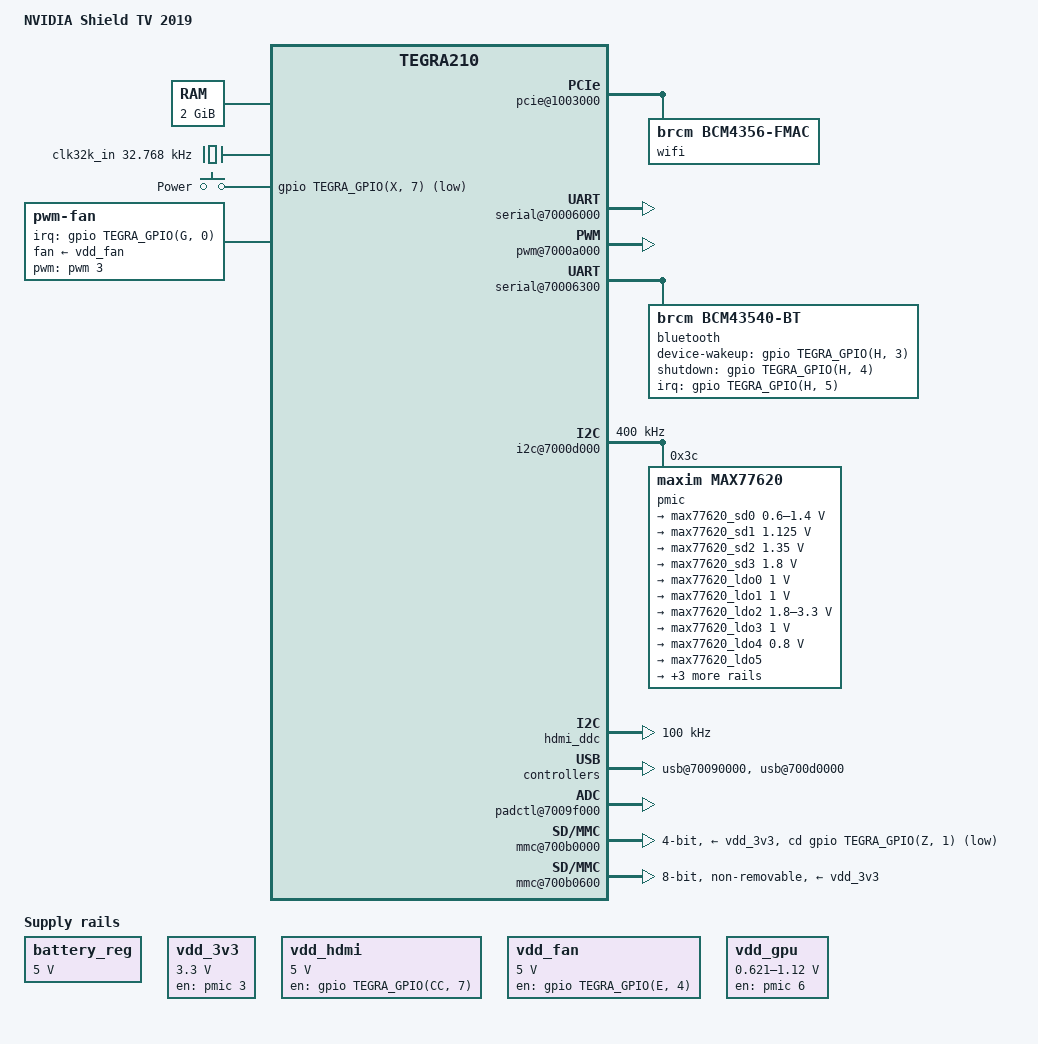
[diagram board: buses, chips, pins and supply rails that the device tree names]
// SPDX-License-Identifier: GPL-2.0
/dts-v1/;

#include <dt-bindings/input/input.h>
#include <dt-bindings/input/gpio-keys.h>
#include <dt-bindings/mfd/max77620.h>
#include <dt-bindings/pinctrl/pinctrl-tegra.h>
#include "tegra210b01.dtsi"

/ {
	model = "NVIDIA Shield TV 2019";
	compatible = "nvidia,p3425-0500-a04", "nvidia,sif", "nvidia,tegra210b01",
		"nvidia,tegra210";

	aliases {
		serial0 = &uarta;
		serial3 = &uartd;
	};

	chosen {
		bootargs = "earlycon";
		stdout-path = "serial0:115200n8";
	};

	memory@80000000 {
		device_type = "memory";
		reg = <0x0 0x80000000 0x0 0x80000000>;
	};

	pcie@1003000 {
		status = "okay";

		hvddio-pex-supply = <&max77620_sd3>;
		dvddio-pex-supply = <&max77620_ldo1>;
		vddio-pex-ctl-supply = <&max77620_sd3>;

		pci@1,0 {
			phys = <&{/padctl@7009f000/pads/pcie/lanes/pcie-3}>,
			       <&{/padctl@7009f000/pads/pcie/lanes/pcie-2}>;
			phy-names = "pcie-0", "pcie-1";
			status = "okay";

			wifi@0,0 {
				compatible = "brcm,bcm4356-fmac", "brcm,bcm4329-fmac";
			};
		};

		pci@2,0 {
			phys = <&{/padctl@7009f000/pads/pcie/lanes/pcie-0}>;
			phy-names = "pcie-0";
			status = "okay";
		};
	};

	host1x@50000000 {
		dpaux@54040000 {
			status = "okay";
		};

		sor@54580000 {
			status = "okay";

			avdd-io-hdmi-dp-supply = <&max77620_ldo3>;
			vdd-hdmi-dp-pll-supply = <&max77620_sd3>;
			hdmi-supply = <&vdd_hdmi>;

			nvidia,ddc-i2c-bus = <&hdmi_ddc>;
			nvidia,hpd-gpio = <&gpio TEGRA_GPIO(CC, 1)
					   GPIO_ACTIVE_LOW>;
		};
	};

	gpu@57000000 {
		vdd-supply = <&vdd_gpu>;
		status = "okay";
	};

	pinmux: pinmux@700008d4 {
		status = "okay";
		pinctrl-names = "boot";
		pinctrl-0 = <&state_boot>;

		state_boot: pinmux {
			dvfs_pwm_pbb1 {
				nvidia,pins = "dvfs_pwm_pbb1";
				nvidia,function = "cldvfs";
				nvidia,pull = <TEGRA_PIN_PULL_NONE>;
				nvidia,tristate = <TEGRA_PIN_ENABLE>;
				nvidia,enable-input = <TEGRA_PIN_DISABLE>;
				nvidia,lpdr = <TEGRA_PIN_DISABLE>;
			};

			pe7 {
				nvidia,pins = "pe7";
				nvidia,function = "pwm3";
				nvidia,pull = <TEGRA_PIN_PULL_NONE>;
				nvidia,tristate = <TEGRA_PIN_DISABLE>;
				nvidia,enable-input = <TEGRA_PIN_DISABLE>;
				nvidia,lpdr = <TEGRA_PIN_DISABLE>;
			};

			pex_l0_clkreq_n_pa1 {
				nvidia,pins = "pex_l0_clkreq_n_pa1";
				nvidia,function = "pe0";
				nvidia,pull = <TEGRA_PIN_PULL_UP>;
				nvidia,tristate = <TEGRA_PIN_DISABLE>;
				nvidia,enable-input = <TEGRA_PIN_ENABLE>;
				nvidia,io-high-voltage = <TEGRA_PIN_DISABLE>;
				nvidia,lpdr = <TEGRA_PIN_DISABLE>;
			};

			pex_l0_rst_n_pa0 {
				nvidia,pins = "pex_l0_rst_n_pa0";
				nvidia,function = "pe0";
				nvidia,pull = <TEGRA_PIN_PULL_UP>;
				nvidia,tristate = <TEGRA_PIN_DISABLE>;
				nvidia,enable-input = <TEGRA_PIN_DISABLE>;
				nvidia,io-high-voltage = <TEGRA_PIN_DISABLE>;
				nvidia,lpdr = <TEGRA_PIN_DISABLE>;
			};

			pex_l1_clkreq_n_pa4 {
				nvidia,pins = "pex_l1_clkreq_n_pa4";
				nvidia,function = "pe1";
				nvidia,pull = <TEGRA_PIN_PULL_NONE>;
				nvidia,tristate = <TEGRA_PIN_DISABLE>;
				nvidia,enable-input = <TEGRA_PIN_ENABLE>;
				nvidia,io-high-voltage = <TEGRA_PIN_ENABLE>;
				nvidia,lpdr = <TEGRA_PIN_DISABLE>;
			};

			pex_l1_rst_n_pa3 {
				nvidia,pins = "pex_l1_rst_n_pa3";
				nvidia,function = "pe1";
				nvidia,pull = <TEGRA_PIN_PULL_NONE>;
				nvidia,tristate = <TEGRA_PIN_DISABLE>;
				nvidia,enable-input = <TEGRA_PIN_DISABLE>;
				nvidia,io-high-voltage = <TEGRA_PIN_ENABLE>;
				nvidia,lpdr = <TEGRA_PIN_DISABLE>;
			};

			pex_wake_n_pa2 {
				nvidia,pins = "pex_wake_n_pa2";
				nvidia,function = "pe";
				nvidia,pull = <TEGRA_PIN_PULL_UP>;
				nvidia,tristate = <TEGRA_PIN_DISABLE>;
				nvidia,enable-input = <TEGRA_PIN_ENABLE>;
				nvidia,io-high-voltage = <TEGRA_PIN_DISABLE>;
				nvidia,lpdr = <TEGRA_PIN_DISABLE>;
			};

			sdmmc1_clk_pm0 {
				nvidia,pins = "sdmmc1_clk_pm0";
				nvidia,function = "sdmmc1";
				nvidia,pull = <TEGRA_PIN_PULL_NONE>;
				nvidia,tristate = <TEGRA_PIN_DISABLE>;
				nvidia,enable-input = <TEGRA_PIN_ENABLE>;
				nvidia,loopback = <TEGRA_PIN_ENABLE>;
			};

			sdmmc1_cmd_pm1 {
				nvidia,pins = "sdmmc1_cmd_pm1";
				nvidia,function = "sdmmc1";
				nvidia,pull = <TEGRA_PIN_PULL_UP>;
				nvidia,tristate = <TEGRA_PIN_DISABLE>;
				nvidia,enable-input = <TEGRA_PIN_ENABLE>;
			};

			sdmmc1_dat0_pm5 {
				nvidia,pins = "sdmmc1_dat0_pm5";
				nvidia,function = "sdmmc1";
				nvidia,pull = <TEGRA_PIN_PULL_UP>;
				nvidia,tristate = <TEGRA_PIN_DISABLE>;
				nvidia,enable-input = <TEGRA_PIN_ENABLE>;
			};

			sdmmc1_dat1_pm4 {
				nvidia,pins = "sdmmc1_dat1_pm4";
				nvidia,function = "sdmmc1";
				nvidia,pull = <TEGRA_PIN_PULL_UP>;
				nvidia,tristate = <TEGRA_PIN_DISABLE>;
				nvidia,enable-input = <TEGRA_PIN_ENABLE>;
			};

			sdmmc1_dat2_pm3 {
				nvidia,pins = "sdmmc1_dat2_pm3";
				nvidia,function = "sdmmc1";
				nvidia,pull = <TEGRA_PIN_PULL_UP>;
				nvidia,tristate = <TEGRA_PIN_DISABLE>;
				nvidia,enable-input = <TEGRA_PIN_ENABLE>;
			};

			sdmmc1_dat3_pm2 {
				nvidia,pins = "sdmmc1_dat3_pm2";
				nvidia,function = "sdmmc1";
				nvidia,pull = <TEGRA_PIN_PULL_UP>;
				nvidia,tristate = <TEGRA_PIN_DISABLE>;
				nvidia,enable-input = <TEGRA_PIN_ENABLE>;
			};

			shutdown {
				nvidia,pins = "shutdown";
				nvidia,function = "shutdown";
				nvidia,pull = <TEGRA_PIN_PULL_NONE>;
				nvidia,tristate = <TEGRA_PIN_DISABLE>;
				nvidia,enable-input = <TEGRA_PIN_DISABLE>;
				nvidia,lpdr = <TEGRA_PIN_DISABLE>;
			};

			pwr_i2c_scl_py3 {
				nvidia,pins = "pwr_i2c_scl_py3";
				nvidia,function = "i2cpmu";
				nvidia,pull = <TEGRA_PIN_PULL_NONE>;
				nvidia,tristate = <TEGRA_PIN_DISABLE>;
				nvidia,enable-input = <TEGRA_PIN_ENABLE>;
				nvidia,io-high-voltage = <TEGRA_PIN_DISABLE>;
				nvidia,lpdr = <TEGRA_PIN_DISABLE>;
			};

			pwr_i2c_sda_py4 {
				nvidia,pins = "pwr_i2c_sda_py4";
				nvidia,function = "i2cpmu";
				nvidia,pull = <TEGRA_PIN_PULL_NONE>;
				nvidia,tristate = <TEGRA_PIN_DISABLE>;
				nvidia,enable-input = <TEGRA_PIN_ENABLE>;
				nvidia,io-high-voltage = <TEGRA_PIN_DISABLE>;
				nvidia,lpdr = <TEGRA_PIN_DISABLE>;
			};

			clk_32k_in {
				nvidia,pins = "clk_32k_in";
				nvidia,function = "clk";
				nvidia,pull = <TEGRA_PIN_PULL_NONE>;
				nvidia,tristate = <TEGRA_PIN_DISABLE>;
				nvidia,enable-input = <TEGRA_PIN_ENABLE>;
				nvidia,lpdr = <TEGRA_PIN_DISABLE>;
			};

			clk_32k_out_py5 {
				nvidia,pins = "clk_32k_out_py5";
				nvidia,function = "soc";
				nvidia,pull = <TEGRA_PIN_PULL_NONE>;
				nvidia,tristate = <TEGRA_PIN_DISABLE>;
				nvidia,enable-input = <TEGRA_PIN_ENABLE>;
				nvidia,lpdr = <TEGRA_PIN_DISABLE>;
			};

			pz1 {
				nvidia,pins = "pz1";
				nvidia,function = "sdmmc1";
				nvidia,pull = <TEGRA_PIN_PULL_UP>;
				nvidia,tristate = <TEGRA_PIN_DISABLE>;
				nvidia,enable-input = <TEGRA_PIN_ENABLE>;
				nvidia,lpdr = <TEGRA_PIN_DISABLE>;
			};

			pz5 {
				nvidia,pins = "pz5";
				nvidia,function = "soc";
				nvidia,pull = <TEGRA_PIN_PULL_UP>;
				nvidia,tristate = <TEGRA_PIN_DISABLE>;
				nvidia,enable-input = <TEGRA_PIN_ENABLE>;
				nvidia,lpdr = <TEGRA_PIN_DISABLE>;
			};

			core_pwr_req {
				nvidia,pins = "core_pwr_req";
				nvidia,function = "core";
				nvidia,pull = <TEGRA_PIN_PULL_NONE>;
				nvidia,tristate = <TEGRA_PIN_DISABLE>;
				nvidia,enable-input = <TEGRA_PIN_DISABLE>;
				nvidia,lpdr = <TEGRA_PIN_DISABLE>;
			};

			pwr_int_n {
				nvidia,pins = "pwr_int_n";
				nvidia,function = "pmi";
				nvidia,pull = <TEGRA_PIN_PULL_NONE>;
				nvidia,tristate = <TEGRA_PIN_DISABLE>;
				nvidia,enable-input = <TEGRA_PIN_ENABLE>;
				nvidia,lpdr = <TEGRA_PIN_DISABLE>;
			};

			gen2_i2c_scl_pj2 {
				nvidia,pins = "gen2_i2c_scl_pj2";
				nvidia,function = "i2c2";
				nvidia,pull = <TEGRA_PIN_PULL_NONE>;
				nvidia,tristate = <TEGRA_PIN_DISABLE>;
				nvidia,enable-input = <TEGRA_PIN_ENABLE>;
				nvidia,io-high-voltage = <TEGRA_PIN_ENABLE>;
				nvidia,lpdr = <TEGRA_PIN_DISABLE>;
			};

			gen2_i2c_sda_pj3 {
				nvidia,pins = "gen2_i2c_sda_pj3";
				nvidia,function = "i2c2";
				nvidia,pull = <TEGRA_PIN_PULL_NONE>;
				nvidia,tristate = <TEGRA_PIN_DISABLE>;
				nvidia,enable-input = <TEGRA_PIN_ENABLE>;
				nvidia,io-high-voltage = <TEGRA_PIN_ENABLE>;
				nvidia,lpdr = <TEGRA_PIN_DISABLE>;
			};

			uart1_tx_pu0 {
				nvidia,pins = "uart1_tx_pu0";
				nvidia,function = "uarta";
				nvidia,pull = <TEGRA_PIN_PULL_NONE>;
				nvidia,tristate = <TEGRA_PIN_DISABLE>;
				nvidia,enable-input = <TEGRA_PIN_DISABLE>;
				nvidia,lpdr = <TEGRA_PIN_DISABLE>;
			};

			uart1_rx_pu1 {
				nvidia,pins = "uart1_rx_pu1";
				nvidia,function = "uarta";
				nvidia,pull = <TEGRA_PIN_PULL_UP>;
				nvidia,tristate = <TEGRA_PIN_DISABLE>;
				nvidia,enable-input = <TEGRA_PIN_ENABLE>;
				nvidia,lpdr = <TEGRA_PIN_DISABLE>;
			};

			uart1_rts_pu2 {
				nvidia,pins = "uart1_rts_pu2";
				nvidia,function = "uarta";
				nvidia,pull = <TEGRA_PIN_PULL_NONE>;
				nvidia,tristate = <TEGRA_PIN_DISABLE>;
				nvidia,enable-input = <TEGRA_PIN_DISABLE>;
				nvidia,lpdr = <TEGRA_PIN_DISABLE>;
			};

			jtag_rtck {
				nvidia,pins = "jtag_rtck";
				nvidia,function = "jtag";
				nvidia,pull = <TEGRA_PIN_PULL_NONE>;
				nvidia,tristate = <TEGRA_PIN_DISABLE>;
				nvidia,enable-input = <TEGRA_PIN_DISABLE>;
				nvidia,lpdr = <TEGRA_PIN_DISABLE>;
			};

			uart3_tx_pd1 {
				nvidia,pins = "uart3_tx_pd1";
				nvidia,function = "uartc";
				nvidia,pull = <TEGRA_PIN_PULL_NONE>;
				nvidia,tristate = <TEGRA_PIN_DISABLE>;
				nvidia,enable-input = <TEGRA_PIN_DISABLE>;
				nvidia,lpdr = <TEGRA_PIN_DISABLE>;
			};

			uart4_tx_pi4 {
				nvidia,pins = "uart4_tx_pi4";
				nvidia,function = "uartd";
				nvidia,pull = <TEGRA_PIN_PULL_NONE>;
				nvidia,tristate = <TEGRA_PIN_DISABLE>;
				nvidia,enable-input = <TEGRA_PIN_DISABLE>;
				nvidia,lpdr = <TEGRA_PIN_DISABLE>;
			};

			uart4_rx_pi5 {
				nvidia,pins = "uart4_rx_pi5";
				nvidia,function = "uartd";
				nvidia,pull = <TEGRA_PIN_PULL_UP>;
				nvidia,tristate = <TEGRA_PIN_DISABLE>;
				nvidia,enable-input = <TEGRA_PIN_ENABLE>;
				nvidia,lpdr = <TEGRA_PIN_DISABLE>;
			};

			uart4_rts_pi6 {
				nvidia,pins = "uart4_rts_pi6";
				nvidia,function = "uartd";
				nvidia,pull = <TEGRA_PIN_PULL_NONE>;
				nvidia,tristate = <TEGRA_PIN_DISABLE>;
				nvidia,enable-input = <TEGRA_PIN_DISABLE>;
				nvidia,lpdr = <TEGRA_PIN_DISABLE>;
			};

			uart4_cts_pi7 {
				nvidia,pins = "uart4_cts_pi7";
				nvidia,function = "uartd";
				nvidia,pull = <TEGRA_PIN_PULL_UP>;
				nvidia,tristate = <TEGRA_PIN_DISABLE>;
				nvidia,enable-input = <TEGRA_PIN_ENABLE>;
				nvidia,lpdr = <TEGRA_PIN_DISABLE>;
			};

			dap2_din_paa2 {
				nvidia,pins = "dap2_din_paa2";
				nvidia,function = "i2s2";
				nvidia,pull = <TEGRA_PIN_PULL_UP>;
				nvidia,tristate = <TEGRA_PIN_DISABLE>;
				nvidia,enable-input = <TEGRA_PIN_ENABLE>;
				nvidia,lpdr = <TEGRA_PIN_DISABLE>;
			};

			dap2_dout_paa3 {
				nvidia,pins = "dap2_dout_paa3";
				nvidia,function = "i2s2";
				nvidia,pull = <TEGRA_PIN_PULL_NONE>;
				nvidia,tristate = <TEGRA_PIN_DISABLE>;
				nvidia,enable-input = <TEGRA_PIN_ENABLE>;
				nvidia,lpdr = <TEGRA_PIN_DISABLE>;
			};

			dap2_fs_paa0 {
				nvidia,pins = "dap2_fs_paa0";
				nvidia,function = "i2s2";
				nvidia,pull = <TEGRA_PIN_PULL_NONE>;
				nvidia,tristate = <TEGRA_PIN_DISABLE>;
				nvidia,enable-input = <TEGRA_PIN_ENABLE>;
				nvidia,lpdr = <TEGRA_PIN_DISABLE>;
			};

			dap2_sclk_paa1 {
				nvidia,pins = "dap2_sclk_paa1";
				nvidia,function = "i2s2";
				nvidia,pull = <TEGRA_PIN_PULL_NONE>;
				nvidia,tristate = <TEGRA_PIN_DISABLE>;
				nvidia,enable-input = <TEGRA_PIN_ENABLE>;
				nvidia,lpdr = <TEGRA_PIN_DISABLE>;
			};

			hdmi_cec_pcc0 {
				nvidia,pins = "hdmi_cec_pcc0";
				nvidia,function = "cec";
				nvidia,pull = <TEGRA_PIN_PULL_NONE>;
				nvidia,tristate = <TEGRA_PIN_DISABLE>;
				nvidia,enable-input = <TEGRA_PIN_ENABLE>;
				nvidia,io-high-voltage = <TEGRA_PIN_ENABLE>;
				nvidia,lpdr = <TEGRA_PIN_ENABLE>;
			};

			/* GPIO Pin Configuration */
			dmic3_clk_pe4 {
				nvidia,pins = "dmic3_clk_pe4";
				nvidia,function = "rsvd2";
				nvidia,pull = <TEGRA_PIN_PULL_NONE>;
				nvidia,tristate = <TEGRA_PIN_DISABLE>;
				nvidia,enable-input = <TEGRA_PIN_DISABLE>;
				nvidia,lpdr = <TEGRA_PIN_DISABLE>;
			};

			pe6 {
				nvidia,pins = "pe6";
				nvidia,function = "rsvd0";
				nvidia,pull = <TEGRA_PIN_PULL_DOWN>;
				nvidia,tristate = <TEGRA_PIN_DISABLE>;
				nvidia,enable-input = <TEGRA_PIN_ENABLE>;
				nvidia,lpdr = <TEGRA_PIN_DISABLE>;
			};

			pa6 {
				nvidia,pins = "pa6";
				nvidia,function = "rsvd1";
				nvidia,pull = <TEGRA_PIN_PULL_UP>;
				nvidia,tristate = <TEGRA_PIN_DISABLE>;
				nvidia,enable-input = <TEGRA_PIN_DISABLE>;
				nvidia,lpdr = <TEGRA_PIN_DISABLE>;
			};

			als_prox_int_px3 {
				nvidia,pins = "als_prox_int_px3";
				nvidia,function = "rsvd0";
				nvidia,pull = <TEGRA_PIN_PULL_DOWN>;
				nvidia,tristate = <TEGRA_PIN_DISABLE>;
				nvidia,enable-input = <TEGRA_PIN_DISABLE>;
				nvidia,lpdr = <TEGRA_PIN_DISABLE>;
			};

			button_vol_up_px6 {
				nvidia,pins = "button_vol_up_px6";
				nvidia,function = "rsvd0";
				nvidia,pull = <TEGRA_PIN_PULL_UP>;
				nvidia,tristate = <TEGRA_PIN_DISABLE>;
				nvidia,enable-input = <TEGRA_PIN_ENABLE>;
				nvidia,lpdr = <TEGRA_PIN_DISABLE>;
			};

			button_vol_down_px7 {
				nvidia,pins = "button_vol_down_px7";
				nvidia,function = "rsvd0";
				nvidia,pull = <TEGRA_PIN_PULL_UP>;
				nvidia,tristate = <TEGRA_PIN_DISABLE>;
				nvidia,enable-input = <TEGRA_PIN_ENABLE>;
				nvidia,lpdr = <TEGRA_PIN_DISABLE>;
			};

			button_home_py1 {
				nvidia,pins = "button_home_py1";
				nvidia,function = "rsvd0";
				nvidia,pull = <TEGRA_PIN_PULL_UP>;
				nvidia,tristate = <TEGRA_PIN_DISABLE>;
				nvidia,enable-input = <TEGRA_PIN_ENABLE>;
				nvidia,lpdr = <TEGRA_PIN_DISABLE>;
			};

			pz0 {
				nvidia,pins = "pz0";
				nvidia,function = "rsvd1";
				nvidia,pull = <TEGRA_PIN_PULL_NONE>;
				nvidia,tristate = <TEGRA_PIN_DISABLE>;
				nvidia,enable-input = <TEGRA_PIN_ENABLE>;
				nvidia,lpdr = <TEGRA_PIN_DISABLE>;
			};

			uart2_tx_pg0 {
				nvidia,pins = "uart2_tx_pg0";
				nvidia,function = "uartb";
				nvidia,pull = <TEGRA_PIN_PULL_NONE>;
				nvidia,tristate = <TEGRA_PIN_DISABLE>;
				nvidia,enable-input = <TEGRA_PIN_ENABLE>;
				nvidia,lpdr = <TEGRA_PIN_DISABLE>;
			};

			wifi_en_ph0 {
				nvidia,pins = "wifi_en_ph0";
				nvidia,function = "rsvd0";
				nvidia,pull = <TEGRA_PIN_PULL_NONE>;
				nvidia,tristate = <TEGRA_PIN_DISABLE>;
				nvidia,enable-input = <TEGRA_PIN_DISABLE>;
				nvidia,lpdr = <TEGRA_PIN_DISABLE>;
			};

			wifi_wake_ap_ph2 {
				nvidia,pins = "wifi_wake_ap_ph2";
				nvidia,function = "rsvd0";
				nvidia,pull = <TEGRA_PIN_PULL_DOWN>;
				nvidia,tristate = <TEGRA_PIN_DISABLE>;
				nvidia,enable-input = <TEGRA_PIN_ENABLE>;
				nvidia,lpdr = <TEGRA_PIN_DISABLE>;
			};

			ap_wake_bt_ph3 {
				nvidia,pins = "ap_wake_bt_ph3";
				nvidia,function = "rsvd0";
				nvidia,pull = <TEGRA_PIN_PULL_NONE>;
				nvidia,tristate = <TEGRA_PIN_DISABLE>;
				nvidia,enable-input = <TEGRA_PIN_DISABLE>;
				nvidia,lpdr = <TEGRA_PIN_DISABLE>;
			};

			bt_rst_ph4 {
				nvidia,pins = "bt_rst_ph4";
				nvidia,function = "rsvd0";
				nvidia,pull = <TEGRA_PIN_PULL_NONE>;
				nvidia,tristate = <TEGRA_PIN_DISABLE>;
				nvidia,enable-input = <TEGRA_PIN_DISABLE>;
				nvidia,lpdr = <TEGRA_PIN_DISABLE>;
			};

			bt_wake_ap_ph5 {
				nvidia,pins = "bt_wake_ap_ph5";
				nvidia,function = "rsvd0";
				nvidia,pull = <TEGRA_PIN_PULL_UP>;
				nvidia,tristate = <TEGRA_PIN_DISABLE>;
				nvidia,enable-input = <TEGRA_PIN_ENABLE>;
				nvidia,lpdr = <TEGRA_PIN_DISABLE>;
			};

			pcc7 {
				nvidia,pins = "pcc7";
				nvidia,function = "rsvd0";
				nvidia,pull = <TEGRA_PIN_PULL_NONE>;
				nvidia,tristate = <TEGRA_PIN_DISABLE>;
				nvidia,enable-input = <TEGRA_PIN_DISABLE>;
				nvidia,io-high-voltage = <TEGRA_PIN_DISABLE>;
				nvidia,lpdr = <TEGRA_PIN_ENABLE>;
			};

			hdmi_int_dp_hpd_pcc1 {
				nvidia,pins = "hdmi_int_dp_hpd_pcc1";
				nvidia,function = "rsvd1";
				nvidia,pull = <TEGRA_PIN_PULL_NONE>;
				nvidia,tristate = <TEGRA_PIN_DISABLE>;
				nvidia,enable-input = <TEGRA_PIN_ENABLE>;
				nvidia,io-high-voltage = <TEGRA_PIN_DISABLE>;
				nvidia,lpdr = <TEGRA_PIN_DISABLE>;
			};
		};

		dvfs_pwm_active_state: pinmux-dvfs-pwm-active {
			dvfs_pwm_pbb1 {
				nvidia,pins = "dvfs_pwm_pbb1";
				nvidia,tristate = <TEGRA_PIN_DISABLE>;
			};
		};

		dvfs_pwm_inactive_state: pinmux-dvfs-pwm-inactive {
			dvfs_pwm_pbb1 {
				nvidia,pins = "dvfs_pwm_pbb1";
				nvidia,tristate = <TEGRA_PIN_ENABLE>;
			};
		};
	};

	serial@70006000 {
		/delete-property/ dmas;
		/delete-property/ dma-names;
		status = "okay";
	};

	pwm@7000a000 {
		status = "okay";
	};

	serial@70006300 {
		/delete-property/ reg-shift;
		status = "okay";
		compatible = "nvidia,tegra30-hsuart";
		reset-names = "serial";

		bluetooth {
			compatible = "brcm,bcm43540-bt";
			device-wakeup-gpios = <&gpio TEGRA_GPIO(H, 3) GPIO_ACTIVE_HIGH>;
			shutdown-gpios = <&gpio TEGRA_GPIO(H, 4) GPIO_ACTIVE_HIGH>;
			interrupt-parent = <&gpio>;
			interrupts = <TEGRA_GPIO(H, 5) IRQ_TYPE_LEVEL_LOW>;
			interrupt-names = "host-wakeup";
		};
	};

	i2c@7000d000 {
		status = "okay";
		clock-frequency = <400000>;

		pmic: pmic@3c {
			compatible = "maxim,max77620";
			reg = <0x3c>;
			interrupts = <GIC_SPI 86 IRQ_TYPE_LEVEL_HIGH>;

			#interrupt-cells = <2>;
			interrupt-controller;

			gpio-controller;
			#gpio-cells = <2>;

			pinctrl-names = "default";
			pinctrl-0 = <&max77620_default>;

			fps {
				#address-cells = <1>;
				#size-cells = <0>;

				fps0 {
					reg = <0>;
					maxim,fps-event-source = <MAX77620_FPS_EVENT_SRC_EN0>;
				};

				fps1 {
					reg = <1>;
					maxim,fps-event-source = <MAX77620_FPS_EVENT_SRC_EN1>;
					maxim,device-state-on-disabled-event = <MAX77620_FPS_INACTIVE_STATE_SLEEP>;
				};

				fps2 {
					reg = <2>;
					maxim,fps-event-source = <MAX77620_FPS_EVENT_SRC_EN0>;
				};
			};

			max77620-hog {
				gpio-hog;
				output-high;
				gpios = <2 GPIO_ACTIVE_HIGH>,
					<7 GPIO_ACTIVE_HIGH>;
			};

			max77620_default: pinmux {
				gpio0 {
					pins = "gpio0";
					function = "gpio";
				};

				gpio1 {
					pins = "gpio1";
					function = "fps-out";
					drive-push-pull = <1>;
					maxim,active-fps-source = <MAX77620_FPS_SRC_NONE>;
				};

				gpio2 {
					pins = "gpio2";
					function = "fps-out";
					drive-open-drain = <1>;
					maxim,active-fps-source = <MAX77620_FPS_SRC_0>;
				};

				gpio3 {
					pins = "gpio3";
					function = "fps-out";
					drive-open-drain = <1>;
					maxim,active-fps-power-up-slot = <4>;
					maxim,active-fps-power-down-slot = <3>;
					maxim,active-fps-source = <MAX77620_FPS_SRC_0>;
				};

				gpio4 {
					pins = "gpio4";
					function = "32k-out1";
				};

				gpio5_6_7 {
					pins = "gpio5", "gpio6", "gpio7";
					function = "gpio";
					drive-push-pull = <1>;
				};
			};

			regulators {
				in-ldo0-1-supply = <&max77620_sd2>;
				in-ldo7-8-supply = <&max77620_sd2>;

				max77620_sd0: sd0 {
					regulator-name = "vdd-core";
					regulator-enable-ramp-delay = <146>;
					regulator-min-microvolt = <600000>;
					regulator-max-microvolt = <1400000>;
					regulator-ramp-delay = <27500>;
					regulator-always-on;
					regulator-boot-on;

					maxim,active-fps-power-up-slot = <1>;
					maxim,active-fps-power-down-slot = <6>;
					maxim,active-fps-source = <MAX77620_FPS_SRC_1>;
				};

				max77620_sd1: sd1 {
					regulator-name = "vddio-ddr";
					regulator-enable-ramp-delay = <130>;
					regulator-min-microvolt = <1125000>;
					regulator-max-microvolt = <1125000>;
					regulator-ramp-delay = <27500>;
					regulator-always-on;
					regulator-boot-on;

					maxim,active-fps-power-up-slot = <5>;
					maxim,active-fps-power-down-slot = <2>;
					maxim,active-fps-source = <MAX77620_FPS_SRC_0>;
				};

				max77620_sd2: sd2 {
					regulator-name = "vdd-pre-reg";
					regulator-enable-ramp-delay = <176>;
					regulator-min-microvolt = <1350000>;
					regulator-max-microvolt = <1350000>;
					regulator-ramp-delay = <27500>;
					regulator-always-on;
					regulator-boot-on;

					maxim,active-fps-power-up-slot = <2>;
					maxim,active-fps-power-down-slot = <5>;
					maxim,suspend-fps-source = <MAX77620_FPS_SRC_1>;
				};

				max77620_sd3: sd3 {
					regulator-name = "vdd-1v8";
					regulator-enable-ramp-delay = <242>;
					regulator-min-microvolt = <1800000>;
					regulator-max-microvolt = <1800000>;
					regulator-ramp-delay = <27500>;
					regulator-always-on;
					regulator-boot-on;

					maxim,active-fps-power-up-slot = <3>;
					maxim,active-fps-power-down-slot = <4>;
					maxim,active-fps-source = <MAX77620_FPS_SRC_0>;
				};

				/* Described on downstream as unused, but isn't actually disabled */
				max77620_ldo0: ldo0 {
					regulator-name = "avdd-sys";
					regulator-enable-ramp-delay = <26>;
					regulator-min-microvolt = <1000000>;
					regulator-max-microvolt = <1000000>;
					regulator-ramp-delay = <100000>;

					maxim,active-fps-power-up-slot = <0>;
					maxim,active-fps-power-down-slot = <7>;
					maxim,active-fps-source = <MAX77620_FPS_SRC_0>;
				};

				max77620_ldo1: ldo1 {
					regulator-name = "vdd-pex";
					regulator-enable-ramp-delay = <22>;
					regulator-min-microvolt = <1000000>;
					regulator-max-microvolt = <1000000>;
					regulator-ramp-delay = <100000>;
					regulator-always-on;

					maxim,active-fps-power-up-slot = <0>;
					maxim,active-fps-power-down-slot = <7>;
					maxim,active-fps-source = <MAX77620_FPS_SRC_NONE>;
				};

				max77620_ldo2: ldo2 {
					regulator-name = "vddio-sdmmc3";
					regulator-enable-ramp-delay = <62>;
					regulator-min-microvolt = <1800000>;
					regulator-max-microvolt = <3300000>;
					regulator-ramp-delay = <100000>;

					maxim,active-fps-power-up-slot = <0>;
					maxim,active-fps-power-down-slot = <7>;
					maxim,active-fps-source = <MAX77620_FPS_SRC_NONE>;
				};

				max77620_ldo3: ldo3 {
					regulator-name = "avdd-io-hdmi-dp";
					regulator-enable-ramp-delay = <50>;
					regulator-min-microvolt = <1000000>;
					regulator-max-microvolt = <1000000>;
					regulator-ramp-delay = <100000>;

					maxim,active-fps-power-up-slot = <0>;
					maxim,active-fps-power-down-slot = <7>;
					maxim,active-fps-source = <MAX77620_FPS_SRC_NONE>;
				};

				max77620_ldo4: ldo4 {
					regulator-name = "vdd-rtc";
					regulator-enable-ramp-delay = <22>;
					regulator-min-microvolt = <800000>;
					regulator-max-microvolt = <800000>;
					regulator-ramp-delay = <100000>;
					regulator-always-on;
					regulator-boot-on;

					maxim,active-fps-power-up-slot = <1>;
					maxim,active-fps-power-down-slot = <6>;
					maxim,active-fps-source = <MAX77620_FPS_SRC_0>;
				};

				/* Described on downstream as unused, but isn't actually disabled */
				max77620_ldo5: ldo5 {
					regulator-name = "avdd-ts-hv";
					regulator-enable-ramp-delay = <62>;
					regulator-ramp-delay = <100000>;

					maxim,active-fps-power-up-slot = <0>;
					maxim,active-fps-power-down-slot = <7>;
					maxim,active-fps-source = <MAX77620_FPS_SRC_NONE>;
				};

				/* Described on downstream as unused, but isn't actually disabled */
				max77620_ldo6: ldo6 {
					regulator-name = "vdd-ts";
					regulator-enable-ramp-delay = <36>;
					regulator-ramp-delay = <100000>;

					maxim,active-fps-power-up-slot = <0>;
					maxim,active-fps-power-down-slot = <7>;
					maxim,active-fps-source = <MAX77620_FPS_SRC_NONE>;
				};

				/* Described on downstream as unused, but isn't actually disabled */
				max77620_ldo7: ldo7 {
					regulator-name = "vdd-gen-pll-edp";
					regulator-enable-ramp-delay = <24>;
					regulator-ramp-delay = <100000>;

					maxim,active-fps-power-up-slot = <3>;
					maxim,active-fps-power-down-slot = <4>;
					maxim,active-fps-source = <MAX77620_FPS_SRC_NONE>;
				};

				/* Described on downstream as unused, but isn't actually disabled */
				max77620_ldo8: ldo8 {
					regulator-name = "vdd-hdmi-dp";
					regulator-enable-ramp-delay = <22>;
					regulator-ramp-delay = <100000>;

					maxim,active-fps-power-up-slot = <6>;
					maxim,active-fps-power-down-slot = <1>;
					maxim,active-fps-source = <MAX77620_FPS_SRC_NONE>;
				};
			};
		};
	};

	/* HDMI DDC */
	hdmi_ddc: i2c@7000c700 {
		status = "okay";
		clock-frequency = <100000>;
	};

	pmc@7000e400 {
		nvidia,invert-interrupt;
		nvidia,suspend-mode = <0>;
		nvidia,cpu-pwr-good-time = <0>;
		nvidia,cpu-pwr-off-time = <0>;
		nvidia,core-pwr-good-time = <4587 3876>;
		nvidia,core-pwr-off-time = <39065>;
		nvidia,core-power-req-active-high;
		nvidia,sys-clock-req-active-high;
		status = "okay";
	};

	hda@70030000 {
		status = "okay";
		nvidia,model = "NVIDIA SHIELD TV HDA";
	};

	usb@70090000 {
		phys = <&{/padctl@7009f000/pads/usb2/lanes/usb2-0}>;
		phy-names = "usb2-0";
		dvddio-pex-supply = <&max77620_ldo1>;
		hvddio-pex-supply = <&max77620_sd3>;
		avdd-usb-supply = <&vdd_3v3>;

		status = "okay";
	};

	padctl@7009f000 {
		status = "okay";

		avdd-pll-utmip-supply = <&max77620_sd3>;
		avdd-pll-uerefe-supply = <&max77620_ldo7>;
		dvdd-pex-pll-supply = <&max77620_ldo1>;
		hvdd-pex-pll-e-supply = <&max77620_sd3>;

		pads {
			usb2 {
				status = "okay";

				lanes {
					usb2-0 {
						nvidia,function = "xusb";
						status = "okay";
					};
				};
			};

			pcie {
				status = "okay";

				lanes {
					pcie-0 {
						nvidia,function = "pcie-x1";
						status = "okay";
					};

					pcie-1 {
						nvidia,function = "usb3-ss";
						status = "okay";
					};

					pcie-2 {
						nvidia,function = "pcie-x4";
						status = "okay";
					};

					pcie-3 {
						nvidia,function = "pcie-x4";
						status = "okay";
					};

					pcie-4 {
						nvidia,function = "usb3-ss";
						status = "okay";
					};

					pcie-5 {
						nvidia,function = "usb3-ss";
						status = "okay";
					};
				};
			};
		};

		ports {
			usb2-0 {
				status = "okay";
				vbus-supply = <&battery_reg>;
				usb-role-switch;
				mode = "otg";

				connector {
					compatible = "gpio-usb-b-connector",
						     "usb-b-connector";
					label = "micro-USB";
					type = "micro";
					vbus-gpios = <&gpio TEGRA_GPIO(Z, 0)
						      GPIO_ACTIVE_LOW>;
					id-gpios = <&gpio TEGRA_GPIO(Z, 2)
						      GPIO_ACTIVE_LOW>;
				};
			};
		};
	};

	mmc@700b0000 {
		status = "okay";
		bus-width = <4>;

		cd-gpios = <&gpio TEGRA_GPIO(Z, 1) GPIO_ACTIVE_LOW>;
		disable-wp;

		vqmmc-supply = <&max77620_ldo2>;
		vmmc-supply = <&vdd_3v3>;
	};

	mmc@700b0600 {
		bus-width = <8>;
		non-removable;
		status = "okay";

		vqmmc-supply = <&max77620_sd3>;
		vmmc-supply = <&vdd_3v3>;
	};

	usb@700d0000 {
		status = "okay";
		phys = <&{/padctl@7009f000/pads/usb2/lanes/usb2-0}>;
		phy-names = "usb2-0";
		avddio-usb-supply = <&max77620_ldo1>;
		hvdd-usb-supply = <&vdd_3v3>;
	};

	clock@70110000 {
		status = "okay";

		nvidia,cf = <6>;
		nvidia,ci = <0>;
		nvidia,cg = <2>;
		nvidia,droop-ctrl = <0x00000f00>;
		nvidia,force-mode = <1>;
		nvidia,sample-rate = <25000>;

		nvidia,pwm-min-microvolts = <500000>;
		nvidia,pwm-period-nanoseconds = <2500>; /* 2.5us */
		nvidia,pwm-to-pmic;
		nvidia,pwm-tristate-microvolts = <800000>;
		nvidia,pwm-voltage-step-microvolts = <19375>;

		pinctrl-names = "dvfs_pwm_enable", "dvfs_pwm_disable";
		pinctrl-0 = <&dvfs_pwm_active_state>;
		pinctrl-1 = <&dvfs_pwm_inactive_state>;
	};

	clk32k_in: clock-32k {
		compatible = "fixed-clock";
		clock-frequency = <32768>;
		#clock-cells = <0>;
	};

	cpus {
		cpu@0 {
			enable-method = "psci";
		};

		cpu@1 {
			enable-method = "psci";
		};

		cpu@2 {
			enable-method = "psci";
		};

		cpu@3 {
			enable-method = "psci";
		};

		idle-states {
			cpu-sleep {
				status = "okay";
			};
		};
	};

	gpio-keys {
		compatible = "gpio-keys";
		status = "okay";

		key-power {
			debounce-interval = <30>;
			gpios = <&gpio TEGRA_GPIO(X, 7) GPIO_ACTIVE_LOW>;
			label = "Power";
			linux,code = <KEY_POWER>;
			wakeup-event-action = <EV_ACT_ASSERTED>;
			wakeup-source;
		};
	};

	psci {
		compatible = "arm,psci-1.0";
		method = "smc";
	};

	fan: pwm-fan {
		compatible = "pwm-fan";
		pwms = <&pwm 3 37488>;
		fan-supply = <&vdd_fan>;
		interrupt-parent = <&gpio>;
		interrupts = <TEGRA_GPIO(G, 0) IRQ_TYPE_EDGE_RISING>;

		/* cooling level (0, 1, 2, 3) - pwm inverted */
		cooling-levels = <255 128 64 0>;
		#cooling-cells = <2>;
	};

	battery_reg: regulator-vdd-ac-bat {
		compatible = "regulator-fixed";
		regulator-name = "vdd-ac-bat";
		regulator-min-microvolt = <5000000>;
		regulator-max-microvolt = <5000000>;
		regulator-always-on;
	};

	vdd_3v3: regulator-vdd-3v3 {
		compatible = "regulator-fixed";
		regulator-name = "vdd-3v3";
		regulator-enable-ramp-delay = <240>;
		regulator-min-microvolt = <3300000>;
		regulator-max-microvolt = <3300000>;
		regulator-always-on;

		gpio = <&pmic 3 GPIO_ACTIVE_HIGH>;
		enable-active-high;
	};

	vdd_hdmi: regulator-vdd-hdmi {
		compatible = "regulator-fixed";
		regulator-name = "vdd-hdmi";
		regulator-enable-ramp-delay = <468>;
		regulator-min-microvolt = <5000000>;
		regulator-max-microvolt = <5000000>;
		regulator-boot-on;

		gpio = <&gpio TEGRA_GPIO(CC, 7) GPIO_ACTIVE_HIGH>;
		enable-active-high;
	};

	vdd_fan: regulator-vdd-fan {
		compatible = "regulator-fixed";
		regulator-name = "vdd-fan";
		regulator-enable-ramp-delay = <284>;
		regulator-min-microvolt = <5000000>;
		regulator-max-microvolt = <5000000>;

		gpio = <&gpio TEGRA_GPIO(E, 4) GPIO_ACTIVE_HIGH>;
		enable-active-high;
	};

	vdd_gpu: regulator-vdd-gpu {
		compatible = "pwm-regulator";
		pwms = <&pwm 1 8000>;
		regulator-name = "VDD_GPU";
		regulator-min-microvolt = <621000>;
		regulator-max-microvolt = <1120000>;
		enable-gpios = <&pmic 6 GPIO_ACTIVE_HIGH>;
		regulator-ramp-delay = <80>;
		regulator-enable-ramp-delay = <2000>;
		regulator-settling-time-us = <122>;
	};

	thermal-zones {
		cpu-thermal {
			trips {
				cpu_trip_critical: critical {
					temperature = <96500>;
					hysteresis = <0>;
					type = "critical";
				};

				cpu_trip_hot: hot {
					temperature = <70000>;
					hysteresis = <2000>;
					type = "hot";
				};

				cpu_trip_active: active {
					temperature = <50000>;
					hysteresis = <2000>;
					type = "active";
				};

				cpu_trip_passive: passive {
					temperature = <30000>;
					hysteresis = <2000>;
					type = "passive";
				};
			};

			cooling-maps {
				map0 {
					cooling-device = <&fan 3 3>;
					trip = <&cpu_trip_critical>;
				};

				map1 {
					cooling-device = <&fan 2 2>;
					trip = <&cpu_trip_hot>;
				};

				map2 {
					cooling-device = <&fan 1 1>;
					trip = <&cpu_trip_active>;
				};

				map3 {
					cooling-device = <&fan 0 0>;
					trip = <&cpu_trip_passive>;
				};
			};
		};
	};
};
